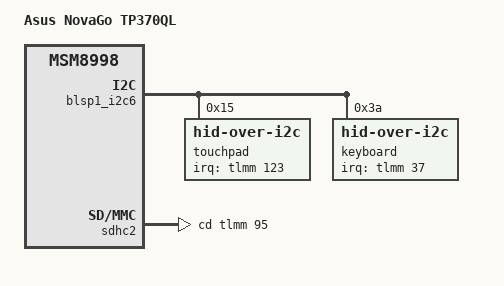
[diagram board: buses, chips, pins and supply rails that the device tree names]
// SPDX-License-Identifier: GPL-2.0
/* Copyright (c) 2019, Jeffrey Hugo. All rights reserved. */

/dts-v1/;

#include "msm8998-clamshell.dtsi"

/ {
	model = "Asus NovaGo TP370QL";
	compatible = "asus,novago-tp370ql", "qcom,msm8998";
	chassis-type = "convertible";
};

&blsp1_i2c6 {
	status = "okay";

	touchpad@15 {
		compatible = "hid-over-i2c";
		reg = <0x15>;
		pinctrl-names = "default";
		pinctrl-0 = <&touchpad>;

		interrupt-parent = <&tlmm>;
		interrupts = <123 IRQ_TYPE_LEVEL_LOW>;

		hid-descr-addr = <0x0001>;
	};

	keyboard@3a {
		compatible = "hid-over-i2c";
		reg = <0x3a>;
		interrupt-parent = <&tlmm>;
		interrupts = <37 IRQ_TYPE_LEVEL_LOW>;

		hid-descr-addr = <0x0001>;
	};
};

&sdhc2 {
	cd-gpios = <&tlmm 95 GPIO_ACTIVE_HIGH>;
};
